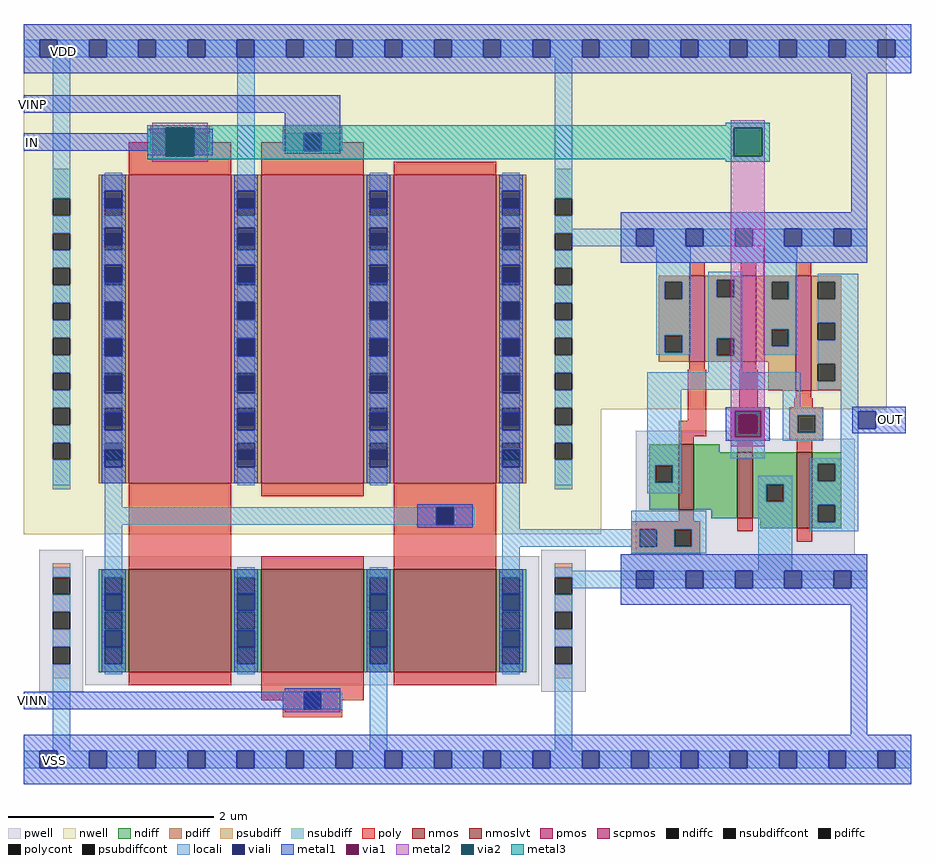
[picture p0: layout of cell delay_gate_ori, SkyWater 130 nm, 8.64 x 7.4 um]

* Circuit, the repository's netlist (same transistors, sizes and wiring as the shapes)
* NGSPICE file created from delay_gate_ori.ext - technology: sky130A

.subckt sky130_fd_pr__nfet_01v8_3KLK8B a_n158_n69# a_n100_n124# a_100_n69# VSUBS
X0 a_100_n69# a_n100_n124# a_n158_n69# VSUBS sky130_fd_pr__nfet_01v8 ad=0.29 pd=2.58 as=0.29 ps=2.58 w=1 l=1
.ends

.subckt sky130_fd_pr__pfet_01v8_GLM8QU a_n100_n328# a_100_n264# w_n194_n364# a_n158_n264#
X0 a_100_n264# a_n100_n328# a_n158_n264# w_n194_n364# sky130_fd_pr__pfet_01v8 ad=0.87 pd=6.58 as=0.87 ps=6.58 w=3 l=1
.ends

.subckt sky130_fd_pr__pfet_01v8_JKM84M a_n100_n362# w_n194_n398# a_100_n336# a_n158_n336#
X0 a_100_n336# a_n100_n362# a_n158_n336# w_n194_n398# sky130_fd_pr__pfet_01v8 ad=0.87 pd=6.58 as=0.87 ps=6.58 w=3 l=1
.ends

.subckt sky130_fd_pr__nfet_01v8_WVKZ6V a_100_n100# a_n100_n126# a_n158_n100# VSUBS
X0 a_100_n100# a_n100_n126# a_n158_n100# VSUBS sky130_fd_pr__nfet_01v8 ad=0.29 pd=2.58 as=0.29 ps=2.58 w=1 l=1
.ends

.subckt sky130_fd_sc_hs__and2_1 A B VGND VNB VPB VPWR X
X0 VGND B a_143_136# VNB sky130_fd_pr__nfet_01v8_lvt ad=0.15535 pd=1.17 as=0.1376 ps=1.14 w=0.64 l=0.15
X1 X a_56_136# VGND VNB sky130_fd_pr__nfet_01v8_lvt ad=0.2109 pd=2.05 as=0.15535 ps=1.17 w=0.74 l=0.15
X2 VPWR B a_56_136# VPB sky130_fd_pr__pfet_01v8 ad=0.1988 pd=1.505 as=0.147 ps=1.19 w=0.84 l=0.15
X3 a_143_136# A a_56_136# VNB sky130_fd_pr__nfet_01v8_lvt ad=0.1376 pd=1.14 as=0.1824 ps=1.85 w=0.64 l=0.15
X4 a_56_136# A VPWR VPB sky130_fd_pr__pfet_01v8 ad=0.147 pd=1.19 as=0.252 ps=2.28 w=0.84 l=0.15
X5 X a_56_136# VPWR VPB sky130_fd_pr__pfet_01v8 ad=0.3304 pd=2.83 as=0.1988 ps=1.505 w=1.12 l=0.15
.ends

.subckt delay_gate_ori VDD VSS VINP VINN OUT IN
Xsky130_fd_pr__nfet_01v8_3KLK8B_0 XM5/a_100_n100# VINN VSS VSS sky130_fd_pr__nfet_01v8_3KLK8B
Xsky130_fd_pr__pfet_01v8_GLM8QU_0 a_n155_n58# sky130_fd_sc_hs__and2_1_0/A VDD XM1/a_100_n336#
+ sky130_fd_pr__pfet_01v8_GLM8QU
Xsky130_fd_pr__pfet_01v8_JKM84M_0 IN VDD VDD a_n155_n58# sky130_fd_pr__pfet_01v8_JKM84M
Xsky130_fd_pr__nfet_01v8_WVKZ6V_0 sky130_fd_sc_hs__and2_1_0/A a_n155_n58# VSS VSS
+ sky130_fd_pr__nfet_01v8_WVKZ6V
XXM1 VINP VDD XM1/a_100_n336# VDD sky130_fd_pr__pfet_01v8_JKM84M
XXM5 XM5/a_100_n100# IN a_n155_n58# VSS sky130_fd_pr__nfet_01v8_WVKZ6V
Xsky130_fd_sc_hs__and2_1_0 sky130_fd_sc_hs__and2_1_0/A IN VSS VSS VDD VDD OUT sky130_fd_sc_hs__and2_1
.ends

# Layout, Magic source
magic
tech sky130A
magscale 1 2
<< nwell >>
rect -875 248 805 998
rect -875 4 249 248
<< pwell >>
rect -845 -302 -759 -26
rect 133 -302 219 -26
<< psubdiff >>
rect -819 -79 -785 -52
rect -819 -147 -785 -113
rect -819 -215 -785 -181
rect -819 -276 -785 -249
rect 159 -79 193 -52
rect 159 -147 193 -113
rect 159 -215 193 -181
rect 159 -276 193 -249
<< nsubdiff >>
rect -819 659 -785 716
rect -819 591 -785 625
rect -819 523 -785 557
rect -819 455 -785 489
rect -819 387 -785 421
rect -819 319 -785 353
rect -819 251 -785 285
rect -819 183 -785 217
rect -819 92 -785 149
rect 159 659 193 716
rect 159 591 193 625
rect 159 523 193 557
rect 159 455 193 489
rect 159 387 193 421
rect 159 319 193 353
rect 159 251 193 285
rect 159 183 193 217
rect 159 92 193 149
<< psubdiffcont >>
rect -819 -113 -785 -79
rect -819 -181 -785 -147
rect -819 -249 -785 -215
rect 159 -113 193 -79
rect 159 -181 193 -147
rect 159 -249 193 -215
<< nsubdiffcont >>
rect -819 625 -785 659
rect -819 557 -785 591
rect -819 489 -785 523
rect -819 421 -785 455
rect -819 353 -785 387
rect -819 285 -785 319
rect -819 217 -785 251
rect -819 149 -785 183
rect 159 625 193 659
rect 159 557 193 591
rect 159 489 193 523
rect 159 421 193 455
rect 159 353 193 387
rect 159 285 193 319
rect 159 217 193 251
rect 159 149 193 183
<< poly >>
rect -671 -62 -471 98
rect -155 -58 45 102
<< locali >>
rect -875 933 -844 967
rect -810 933 -748 967
rect -714 933 -652 967
rect -618 933 -556 967
rect -522 933 -460 967
rect -426 933 -364 967
rect -330 933 -268 967
rect -234 933 -172 967
rect -138 933 -76 967
rect -42 933 20 967
rect 54 933 116 967
rect 150 933 212 967
rect 246 933 308 967
rect 342 933 404 967
rect 438 933 500 967
rect 534 933 596 967
rect 630 933 692 967
rect 726 933 788 967
rect 822 933 853 967
rect -819 659 -785 933
rect -459 704 -425 933
rect -819 591 -785 625
rect -819 523 -785 557
rect -819 455 -785 489
rect -819 387 -785 421
rect -819 319 -785 353
rect -819 251 -785 285
rect -819 183 -785 217
rect 159 659 193 933
rect 159 599 193 625
rect 159 591 482 599
rect 193 565 482 591
rect 159 523 193 557
rect 159 455 193 489
rect 159 387 193 421
rect 159 319 193 353
rect 159 251 193 285
rect -819 100 -785 149
rect -717 57 -683 207
rect 159 183 193 217
rect -717 23 -77 57
rect -819 -79 -785 -60
rect -717 -64 -683 23
rect 57 14 91 172
rect 159 100 193 149
rect 57 -20 367 14
rect 57 -68 91 -20
rect 159 -67 193 -60
rect -819 -147 -785 -113
rect -819 -215 -785 -181
rect -819 -417 -785 -249
rect 159 -79 386 -67
rect 193 -101 386 -79
rect 159 -147 193 -113
rect 159 -215 193 -181
rect -201 -417 -167 -266
rect 159 -417 193 -249
rect -875 -451 -844 -417
rect -810 -451 -748 -417
rect -714 -451 -652 -417
rect -618 -451 -556 -417
rect -522 -451 -460 -417
rect -426 -451 -364 -417
rect -330 -451 -268 -417
rect -234 -451 -172 -417
rect -138 -451 -76 -417
rect -42 -451 20 -417
rect 54 -451 116 -417
rect 150 -451 212 -417
rect 246 -451 308 -417
rect 342 -451 404 -417
rect 438 -451 500 -417
rect 534 -451 596 -417
rect 630 -451 692 -417
rect 726 -451 788 -417
rect 822 -451 853 -417
<< viali >>
rect -844 933 -810 967
rect -748 933 -714 967
rect -652 933 -618 967
rect -556 933 -522 967
rect -460 933 -426 967
rect -364 933 -330 967
rect -268 933 -234 967
rect -172 933 -138 967
rect -76 933 -42 967
rect 20 933 54 967
rect 116 933 150 967
rect 212 933 246 967
rect 308 933 342 967
rect 404 933 438 967
rect 500 933 534 967
rect 596 933 630 967
rect 692 933 726 967
rect 788 933 822 967
rect 518 202 552 236
rect 750 210 784 244
rect -844 -451 -810 -417
rect -748 -451 -714 -417
rect -652 -451 -618 -417
rect -556 -451 -522 -417
rect -460 -451 -426 -417
rect -364 -451 -330 -417
rect -268 -451 -234 -417
rect -172 -451 -138 -417
rect -76 -451 -42 -417
rect 20 -451 54 -417
rect 116 -451 150 -417
rect 212 -451 246 -417
rect 308 -451 342 -417
rect 404 -451 438 -417
rect 500 -451 534 -417
rect 596 -451 630 -417
rect 692 -451 726 -417
rect 788 -451 822 -417
<< metal1 >>
rect -875 967 853 998
rect -875 933 -844 967
rect -810 933 -748 967
rect -714 933 -652 967
rect -618 933 -556 967
rect -522 933 -460 967
rect -426 933 -364 967
rect -330 933 -268 967
rect -234 933 -172 967
rect -138 933 -76 967
rect -42 933 20 967
rect 54 933 116 967
rect 150 933 212 967
rect 246 933 308 967
rect 342 933 404 967
rect 438 933 500 967
rect 534 933 596 967
rect 630 933 692 967
rect 726 933 788 967
rect 822 933 853 967
rect -875 902 853 933
rect -875 825 -259 859
rect -635 785 -597 794
rect -875 751 -597 785
rect -635 742 -597 751
rect -545 742 -507 794
rect -367 791 -259 825
rect 736 569 767 902
rect 492 245 578 252
rect 492 193 509 245
rect 561 193 578 245
rect 738 244 842 253
rect 738 210 750 244
rect 784 210 842 244
rect 738 201 842 210
rect 492 186 578 193
rect -875 -336 -259 -302
rect 735 -386 767 -101
rect -875 -417 853 -386
rect -875 -451 -844 -417
rect -810 -451 -748 -417
rect -714 -451 -652 -417
rect -618 -451 -556 -417
rect -522 -451 -460 -417
rect -426 -451 -364 -417
rect -330 -451 -268 -417
rect -234 -451 -172 -417
rect -138 -451 -76 -417
rect -42 -451 20 -417
rect 54 -451 116 -417
rect 150 -451 212 -417
rect 246 -451 308 -417
rect 342 -451 404 -417
rect 438 -451 500 -417
rect 534 -451 596 -417
rect 630 -451 692 -417
rect 726 -451 788 -417
rect 822 -451 853 -417
rect -875 -482 853 -451
<< via1 >>
rect -597 742 -545 794
rect 509 236 561 245
rect 509 202 518 236
rect 518 202 552 236
rect 552 202 561 236
rect 509 193 561 202
<< metal2 >>
rect -625 796 -517 806
rect -625 740 -599 796
rect -543 740 -517 796
rect -625 730 -517 740
rect 502 796 568 811
rect 502 740 507 796
rect 563 740 568 796
rect 502 245 568 740
rect 502 193 509 245
rect 561 193 568 245
rect 502 176 568 193
<< via2 >>
rect -599 794 -543 796
rect -599 742 -597 794
rect -597 742 -545 794
rect -545 742 -543 794
rect -599 740 -543 742
rect 507 740 563 796
<< metal3 >>
rect 492 801 578 806
rect -635 796 578 801
rect -635 740 -599 796
rect -543 740 507 796
rect 563 740 578 796
rect -635 735 578 740
rect 492 730 578 735
use sky130_fd_pr__nfet_01v8_3KLK8B  sky130_fd_pr__nfet_01v8_3KLK8B_0
transform 1 0 -313 0 1 -195
box -184 -157 184 157
use sky130_fd_pr__nfet_01v8_WVKZ6V  sky130_fd_pr__nfet_01v8_WVKZ6V_0
transform 1 0 -55 0 1 -164
box -184 -126 184 126
use sky130_fd_pr__pfet_01v8_GLM8QU  sky130_fd_pr__pfet_01v8_GLM8QU_0
transform 1 0 -55 0 1 368
box -194 -364 194 398
use sky130_fd_pr__pfet_01v8_JKM84M  sky130_fd_pr__pfet_01v8_JKM84M_0
transform 1 0 -571 0 1 440
box -194 -398 194 364
use sky130_fd_sc_hs__and2_1  sky130_fd_sc_hs__and2_1_0
transform 1 0 287 0 1 -84
box -38 -49 518 715
use sky130_fd_pr__pfet_01v8_JKM84M  XM1
transform 1 0 -313 0 1 440
box -194 -398 194 364
use sky130_fd_pr__nfet_01v8_WVKZ6V  XM5
transform 1 0 -571 0 1 -164
box -184 -126 184 126
<< labels >>
flabel nwell s -813 930 -783 960 0 FreeSans 500 0 0 0 VDD
port 1 nsew
flabel metal1 s -831 -452 -801 -422 0 FreeSans 500 0 0 0 VSS
port 2 nsew
flabel metal1 s -875 825 -841 859 0 FreeSans 500 0 0 0 VINP
port 3 nsew
flabel metal1 s -875 -336 -841 -302 0 FreeSans 500 0 0 0 VINN
port 4 nsew
flabel metal1 s 784 201 842 253 0 FreeSans 500 0 0 0 OUT
port 5 nsew
flabel metal1 s -875 751 -841 785 0 FreeSans 500 0 0 0 IN
port 6 nsew
<< end >>

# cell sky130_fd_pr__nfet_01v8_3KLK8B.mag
magic
tech sky130A
magscale 1 2
<< pwell >>
rect -184 -95 184 157
<< nmos >>
rect -100 -69 100 131
<< ndiff >>
rect -158 116 -100 131
rect -158 82 -146 116
rect -112 82 -100 116
rect -158 48 -100 82
rect -158 14 -146 48
rect -112 14 -100 48
rect -158 -20 -100 14
rect -158 -54 -146 -20
rect -112 -54 -100 -20
rect -158 -69 -100 -54
rect 100 116 158 131
rect 100 82 112 116
rect 146 82 158 116
rect 100 48 158 82
rect 100 14 112 48
rect 146 14 158 48
rect 100 -20 158 14
rect 100 -54 112 -20
rect 146 -54 158 -20
rect 100 -69 158 -54
<< ndiffc >>
rect -146 82 -112 116
rect -146 14 -112 48
rect -146 -54 -112 -20
rect 112 82 146 116
rect 112 14 146 48
rect 112 -54 146 -20
<< poly >>
rect -100 131 100 157
rect -100 -107 100 -69
rect -100 -124 -17 -107
rect -58 -141 -17 -124
rect 17 -124 100 -107
rect 17 -141 58 -124
rect -58 -157 58 -141
<< polycont >>
rect -17 -141 17 -107
<< locali >>
rect -146 116 -112 135
rect -146 48 -112 50
rect -146 12 -112 14
rect -146 -73 -112 -54
rect 112 116 146 135
rect 112 48 146 50
rect 112 12 146 14
rect 112 -73 146 -54
rect -58 -141 -17 -107
rect 17 -141 58 -107
<< viali >>
rect -146 82 -112 84
rect -146 50 -112 82
rect -146 -20 -112 12
rect -146 -22 -112 -20
rect 112 82 146 84
rect 112 50 146 82
rect 112 -20 146 12
rect 112 -22 146 -20
rect -17 -141 17 -107
<< metal1 >>
rect -152 84 -106 131
rect -152 50 -146 84
rect -112 50 -106 84
rect -152 12 -106 50
rect -152 -22 -146 12
rect -112 -22 -106 12
rect -152 -69 -106 -22
rect 106 84 152 131
rect 106 50 112 84
rect 146 50 152 84
rect 106 12 152 50
rect 106 -22 112 12
rect 146 -22 152 12
rect 106 -69 152 -22
rect -54 -107 54 -101
rect -54 -141 -17 -107
rect 17 -141 54 -107
rect -54 -147 54 -141
<< end >>

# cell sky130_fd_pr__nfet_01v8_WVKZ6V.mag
magic
tech sky130A
magscale 1 2
<< pwell >>
rect -184 -126 184 126
<< nmos >>
rect -100 -100 100 100
<< ndiff >>
rect -158 85 -100 100
rect -158 51 -146 85
rect -112 51 -100 85
rect -158 17 -100 51
rect -158 -17 -146 17
rect -112 -17 -100 17
rect -158 -51 -100 -17
rect -158 -85 -146 -51
rect -112 -85 -100 -51
rect -158 -100 -100 -85
rect 100 85 158 100
rect 100 51 112 85
rect 146 51 158 85
rect 100 17 158 51
rect 100 -17 112 17
rect 146 -17 158 17
rect 100 -51 158 -17
rect 100 -85 112 -51
rect 146 -85 158 -51
rect 100 -100 158 -85
<< ndiffc >>
rect -146 51 -112 85
rect -146 -17 -112 17
rect -146 -85 -112 -51
rect 112 51 146 85
rect 112 -17 146 17
rect 112 -85 146 -51
<< poly >>
rect -100 100 100 126
rect -100 -126 100 -100
<< locali >>
rect -146 85 -112 104
rect -146 17 -112 19
rect -146 -19 -112 -17
rect -146 -104 -112 -85
rect 112 85 146 104
rect 112 17 146 19
rect 112 -19 146 -17
rect 112 -104 146 -85
<< viali >>
rect -146 51 -112 53
rect -146 19 -112 51
rect -146 -51 -112 -19
rect -146 -53 -112 -51
rect 112 51 146 53
rect 112 19 146 51
rect 112 -51 146 -19
rect 112 -53 146 -51
<< metal1 >>
rect -152 53 -106 100
rect -152 19 -146 53
rect -112 19 -106 53
rect -152 -19 -106 19
rect -152 -53 -146 -19
rect -112 -53 -106 -19
rect -152 -100 -106 -53
rect 106 53 152 100
rect 106 19 112 53
rect 146 19 152 53
rect 106 -19 152 19
rect 106 -53 112 -19
rect 146 -53 152 -19
rect 106 -100 152 -53
<< end >>

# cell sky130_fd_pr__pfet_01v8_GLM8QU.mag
magic
tech sky130A
magscale 1 2
<< nwell >>
rect -194 -364 194 398
<< pmos >>
rect -100 -264 100 336
<< pdiff >>
rect -158 291 -100 336
rect -158 257 -146 291
rect -112 257 -100 291
rect -158 223 -100 257
rect -158 189 -146 223
rect -112 189 -100 223
rect -158 155 -100 189
rect -158 121 -146 155
rect -112 121 -100 155
rect -158 87 -100 121
rect -158 53 -146 87
rect -112 53 -100 87
rect -158 19 -100 53
rect -158 -15 -146 19
rect -112 -15 -100 19
rect -158 -49 -100 -15
rect -158 -83 -146 -49
rect -112 -83 -100 -49
rect -158 -117 -100 -83
rect -158 -151 -146 -117
rect -112 -151 -100 -117
rect -158 -185 -100 -151
rect -158 -219 -146 -185
rect -112 -219 -100 -185
rect -158 -264 -100 -219
rect 100 291 158 336
rect 100 257 112 291
rect 146 257 158 291
rect 100 223 158 257
rect 100 189 112 223
rect 146 189 158 223
rect 100 155 158 189
rect 100 121 112 155
rect 146 121 158 155
rect 100 87 158 121
rect 100 53 112 87
rect 146 53 158 87
rect 100 19 158 53
rect 100 -15 112 19
rect 146 -15 158 19
rect 100 -49 158 -15
rect 100 -83 112 -49
rect 146 -83 158 -49
rect 100 -117 158 -83
rect 100 -151 112 -117
rect 146 -151 158 -117
rect 100 -185 158 -151
rect 100 -219 112 -185
rect 146 -219 158 -185
rect 100 -264 158 -219
<< pdiffc >>
rect -146 257 -112 291
rect -146 189 -112 223
rect -146 121 -112 155
rect -146 53 -112 87
rect -146 -15 -112 19
rect -146 -83 -112 -49
rect -146 -151 -112 -117
rect -146 -219 -112 -185
rect 112 257 146 291
rect 112 189 146 223
rect 112 121 146 155
rect 112 53 146 87
rect 112 -15 146 19
rect 112 -83 146 -49
rect 112 -151 146 -117
rect 112 -219 146 -185
<< poly >>
rect -100 336 100 362
rect -100 -311 100 -264
rect -100 -328 -17 -311
rect -58 -345 -17 -328
rect 17 -328 100 -311
rect 17 -345 58 -328
rect -58 -361 58 -345
<< polycont >>
rect -17 -345 17 -311
<< locali >>
rect -146 305 -112 340
rect -146 233 -112 257
rect -146 161 -112 189
rect -146 89 -112 121
rect -146 19 -112 53
rect -146 -49 -112 -17
rect -146 -117 -112 -89
rect -146 -185 -112 -161
rect -146 -268 -112 -233
rect 112 305 146 340
rect 112 233 146 257
rect 112 161 146 189
rect 112 89 146 121
rect 112 19 146 53
rect 112 -49 146 -17
rect 112 -117 146 -89
rect 112 -185 146 -161
rect 112 -268 146 -233
rect -58 -345 -17 -311
rect 17 -345 58 -311
<< viali >>
rect -146 291 -112 305
rect -146 271 -112 291
rect -146 223 -112 233
rect -146 199 -112 223
rect -146 155 -112 161
rect -146 127 -112 155
rect -146 87 -112 89
rect -146 55 -112 87
rect -146 -15 -112 17
rect -146 -17 -112 -15
rect -146 -83 -112 -55
rect -146 -89 -112 -83
rect -146 -151 -112 -127
rect -146 -161 -112 -151
rect -146 -219 -112 -199
rect -146 -233 -112 -219
rect 112 291 146 305
rect 112 271 146 291
rect 112 223 146 233
rect 112 199 146 223
rect 112 155 146 161
rect 112 127 146 155
rect 112 87 146 89
rect 112 55 146 87
rect 112 -15 146 17
rect 112 -17 146 -15
rect 112 -83 146 -55
rect 112 -89 146 -83
rect 112 -151 146 -127
rect 112 -161 146 -151
rect 112 -219 146 -199
rect 112 -233 146 -219
rect -17 -345 17 -311
<< metal1 >>
rect -152 305 -106 336
rect -152 271 -146 305
rect -112 271 -106 305
rect -152 233 -106 271
rect -152 199 -146 233
rect -112 199 -106 233
rect -152 161 -106 199
rect -152 127 -146 161
rect -112 127 -106 161
rect -152 89 -106 127
rect -152 55 -146 89
rect -112 55 -106 89
rect -152 17 -106 55
rect -152 -17 -146 17
rect -112 -17 -106 17
rect -152 -55 -106 -17
rect -152 -89 -146 -55
rect -112 -89 -106 -55
rect -152 -127 -106 -89
rect -152 -161 -146 -127
rect -112 -161 -106 -127
rect -152 -199 -106 -161
rect -152 -233 -146 -199
rect -112 -233 -106 -199
rect -152 -264 -106 -233
rect 106 305 152 336
rect 106 271 112 305
rect 146 271 152 305
rect 106 233 152 271
rect 106 199 112 233
rect 146 199 152 233
rect 106 161 152 199
rect 106 127 112 161
rect 146 127 152 161
rect 106 89 152 127
rect 106 55 112 89
rect 146 55 152 89
rect 106 17 152 55
rect 106 -17 112 17
rect 146 -17 152 17
rect 106 -55 152 -17
rect 106 -89 112 -55
rect 146 -89 152 -55
rect 106 -127 152 -89
rect 106 -161 112 -127
rect 146 -161 152 -127
rect 106 -199 152 -161
rect 106 -233 112 -199
rect 146 -233 152 -199
rect 106 -264 152 -233
rect -54 -311 54 -305
rect -54 -345 -17 -311
rect 17 -345 54 -311
rect -54 -351 54 -345
<< end >>

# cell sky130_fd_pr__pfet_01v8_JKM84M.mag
magic
tech sky130A
magscale 1 2
<< nwell >>
rect -194 -398 194 364
<< pmos >>
rect -100 -336 100 264
<< pdiff >>
rect -158 219 -100 264
rect -158 185 -146 219
rect -112 185 -100 219
rect -158 151 -100 185
rect -158 117 -146 151
rect -112 117 -100 151
rect -158 83 -100 117
rect -158 49 -146 83
rect -112 49 -100 83
rect -158 15 -100 49
rect -158 -19 -146 15
rect -112 -19 -100 15
rect -158 -53 -100 -19
rect -158 -87 -146 -53
rect -112 -87 -100 -53
rect -158 -121 -100 -87
rect -158 -155 -146 -121
rect -112 -155 -100 -121
rect -158 -189 -100 -155
rect -158 -223 -146 -189
rect -112 -223 -100 -189
rect -158 -257 -100 -223
rect -158 -291 -146 -257
rect -112 -291 -100 -257
rect -158 -336 -100 -291
rect 100 219 158 264
rect 100 185 112 219
rect 146 185 158 219
rect 100 151 158 185
rect 100 117 112 151
rect 146 117 158 151
rect 100 83 158 117
rect 100 49 112 83
rect 146 49 158 83
rect 100 15 158 49
rect 100 -19 112 15
rect 146 -19 158 15
rect 100 -53 158 -19
rect 100 -87 112 -53
rect 146 -87 158 -53
rect 100 -121 158 -87
rect 100 -155 112 -121
rect 146 -155 158 -121
rect 100 -189 158 -155
rect 100 -223 112 -189
rect 146 -223 158 -189
rect 100 -257 158 -223
rect 100 -291 112 -257
rect 146 -291 158 -257
rect 100 -336 158 -291
<< pdiffc >>
rect -146 185 -112 219
rect -146 117 -112 151
rect -146 49 -112 83
rect -146 -19 -112 15
rect -146 -87 -112 -53
rect -146 -155 -112 -121
rect -146 -223 -112 -189
rect -146 -291 -112 -257
rect 112 185 146 219
rect 112 117 146 151
rect 112 49 146 83
rect 112 -19 146 15
rect 112 -87 146 -53
rect 112 -155 146 -121
rect 112 -223 146 -189
rect 112 -291 146 -257
<< poly >>
rect -58 345 58 361
rect -58 328 -17 345
rect -100 311 -17 328
rect 17 328 58 345
rect 17 311 100 328
rect -100 264 100 311
rect -100 -362 100 -336
<< polycont >>
rect -17 311 17 345
<< locali >>
rect -58 311 -17 345
rect 17 311 58 345
rect -146 233 -112 268
rect -146 161 -112 185
rect -146 89 -112 117
rect -146 17 -112 49
rect -146 -53 -112 -19
rect -146 -121 -112 -89
rect -146 -189 -112 -161
rect -146 -257 -112 -233
rect -146 -340 -112 -305
rect 112 233 146 268
rect 112 161 146 185
rect 112 89 146 117
rect 112 17 146 49
rect 112 -53 146 -19
rect 112 -121 146 -89
rect 112 -189 146 -161
rect 112 -257 146 -233
rect 112 -340 146 -305
<< viali >>
rect -17 311 17 345
rect -146 219 -112 233
rect -146 199 -112 219
rect -146 151 -112 161
rect -146 127 -112 151
rect -146 83 -112 89
rect -146 55 -112 83
rect -146 15 -112 17
rect -146 -17 -112 15
rect -146 -87 -112 -55
rect -146 -89 -112 -87
rect -146 -155 -112 -127
rect -146 -161 -112 -155
rect -146 -223 -112 -199
rect -146 -233 -112 -223
rect -146 -291 -112 -271
rect -146 -305 -112 -291
rect 112 219 146 233
rect 112 199 146 219
rect 112 151 146 161
rect 112 127 146 151
rect 112 83 146 89
rect 112 55 146 83
rect 112 15 146 17
rect 112 -17 146 15
rect 112 -87 146 -55
rect 112 -89 146 -87
rect 112 -155 146 -127
rect 112 -161 146 -155
rect 112 -223 146 -199
rect 112 -233 146 -223
rect 112 -291 146 -271
rect 112 -305 146 -291
<< metal1 >>
rect -54 345 54 351
rect -54 311 -17 345
rect 17 311 54 345
rect -54 305 54 311
rect -152 233 -106 264
rect -152 199 -146 233
rect -112 199 -106 233
rect -152 161 -106 199
rect -152 127 -146 161
rect -112 127 -106 161
rect -152 89 -106 127
rect -152 55 -146 89
rect -112 55 -106 89
rect -152 17 -106 55
rect -152 -17 -146 17
rect -112 -17 -106 17
rect -152 -55 -106 -17
rect -152 -89 -146 -55
rect -112 -89 -106 -55
rect -152 -127 -106 -89
rect -152 -161 -146 -127
rect -112 -161 -106 -127
rect -152 -199 -106 -161
rect -152 -233 -146 -199
rect -112 -233 -106 -199
rect -152 -271 -106 -233
rect -152 -305 -146 -271
rect -112 -305 -106 -271
rect -152 -336 -106 -305
rect 106 233 152 264
rect 106 199 112 233
rect 146 199 152 233
rect 106 161 152 199
rect 106 127 112 161
rect 146 127 152 161
rect 106 89 152 127
rect 106 55 112 89
rect 146 55 152 89
rect 106 17 152 55
rect 106 -17 112 17
rect 146 -17 152 17
rect 106 -55 152 -17
rect 106 -89 112 -55
rect 146 -89 152 -55
rect 106 -127 152 -89
rect 106 -161 112 -127
rect 146 -161 152 -127
rect 106 -199 152 -161
rect 106 -233 112 -199
rect 146 -233 152 -199
rect 106 -271 152 -233
rect 106 -305 112 -271
rect 146 -305 152 -271
rect 106 -336 152 -305
<< end >>

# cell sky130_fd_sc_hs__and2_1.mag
magic
tech sky130A
magscale 1 2
<< nwell >>
rect -38 332 518 704
<< pwell >>
rect 30 274 219 290
rect 30 49 456 274
rect 0 0 480 49
<< scpmos >>
rect 134 424 164 592
rect 234 424 264 592
rect 341 368 371 592
<< nmoslvt >>
rect 113 136 143 264
rect 227 120 257 248
rect 343 100 373 248
<< ndiff >>
rect 56 223 113 264
rect 56 189 68 223
rect 102 189 113 223
rect 56 136 113 189
rect 143 248 193 264
rect 143 136 227 248
rect 177 120 227 136
rect 257 186 343 248
rect 257 152 284 186
rect 318 152 343 186
rect 257 120 343 152
rect 272 100 343 120
rect 373 226 430 248
rect 373 192 384 226
rect 418 192 430 226
rect 373 146 430 192
rect 373 112 384 146
rect 418 112 430 146
rect 373 100 430 112
<< pdiff >>
rect 74 580 134 592
rect 74 546 86 580
rect 120 546 134 580
rect 74 476 134 546
rect 74 442 86 476
rect 120 442 134 476
rect 74 424 134 442
rect 164 584 234 592
rect 164 550 187 584
rect 221 550 234 584
rect 164 470 234 550
rect 164 436 187 470
rect 221 436 234 470
rect 164 424 234 436
rect 264 580 341 592
rect 264 546 294 580
rect 328 546 341 580
rect 264 488 341 546
rect 264 454 294 488
rect 328 454 341 488
rect 264 424 341 454
rect 288 368 341 424
rect 371 580 430 592
rect 371 546 384 580
rect 418 546 430 580
rect 371 500 430 546
rect 371 466 384 500
rect 418 466 430 500
rect 371 420 430 466
rect 371 386 384 420
rect 418 386 430 420
rect 371 368 430 386
<< ndiffc >>
rect 68 189 102 223
rect 284 152 318 186
rect 384 192 418 226
rect 384 112 418 146
<< pdiffc >>
rect 86 546 120 580
rect 86 442 120 476
rect 187 550 221 584
rect 187 436 221 470
rect 294 546 328 580
rect 294 454 328 488
rect 384 546 418 580
rect 384 466 418 500
rect 384 386 418 420
<< poly >>
rect 134 592 164 618
rect 234 592 264 618
rect 341 592 371 618
rect 134 409 164 424
rect 234 409 264 424
rect 131 309 167 409
rect 231 336 267 409
rect 341 353 371 368
rect 338 336 374 353
rect 113 279 167 309
rect 215 320 281 336
rect 215 286 231 320
rect 265 286 281 320
rect 113 264 143 279
rect 215 270 281 286
rect 329 320 395 336
rect 329 286 345 320
rect 379 286 395 320
rect 329 270 395 286
rect 227 248 257 270
rect 343 248 373 270
rect 113 114 143 136
rect 21 98 155 114
rect 21 64 37 98
rect 71 64 105 98
rect 139 64 155 98
rect 227 94 257 120
rect 343 74 373 100
rect 21 48 155 64
<< polycont >>
rect 231 286 265 320
rect 345 286 379 320
rect 37 64 71 98
rect 105 64 139 98
<< locali >>
rect 0 649 31 683
rect 65 649 127 683
rect 161 649 223 683
rect 257 649 319 683
rect 353 649 415 683
rect 449 649 480 683
rect 70 580 137 649
rect 70 546 86 580
rect 120 546 137 580
rect 70 476 137 546
rect 70 442 86 476
rect 120 442 137 476
rect 70 438 137 442
rect 171 584 237 600
rect 171 550 187 584
rect 221 550 237 584
rect 171 470 237 550
rect 171 436 187 470
rect 221 436 237 470
rect 278 580 344 649
rect 278 546 294 580
rect 328 546 344 580
rect 278 488 344 546
rect 278 454 294 488
rect 328 454 344 488
rect 278 438 344 454
rect 384 580 463 596
rect 418 546 463 580
rect 384 500 463 546
rect 418 466 463 500
rect 171 404 237 436
rect 384 420 463 466
rect 52 370 350 404
rect 418 386 463 420
rect 384 370 463 386
rect 52 223 118 370
rect 316 336 350 370
rect 215 320 281 336
rect 215 286 231 320
rect 265 286 281 320
rect 215 236 281 286
rect 316 320 395 336
rect 316 286 345 320
rect 379 286 395 320
rect 316 270 395 286
rect 429 236 463 370
rect 52 189 68 223
rect 102 189 118 223
rect 368 226 463 236
rect 52 168 118 189
rect 268 186 334 202
rect 268 152 284 186
rect 318 152 334 186
rect 21 98 167 134
rect 21 64 37 98
rect 71 64 105 98
rect 139 64 167 98
rect 21 51 167 64
rect 268 17 334 152
rect 368 192 384 226
rect 418 192 463 226
rect 368 146 463 192
rect 368 112 384 146
rect 418 112 463 146
rect 368 94 463 112
rect 0 -17 31 17
rect 65 -17 127 17
rect 161 -17 223 17
rect 257 -17 319 17
rect 353 -17 415 17
rect 449 -17 480 17
<< viali >>
rect 31 649 65 683
rect 127 649 161 683
rect 223 649 257 683
rect 319 649 353 683
rect 415 649 449 683
rect 31 -17 65 17
rect 127 -17 161 17
rect 223 -17 257 17
rect 319 -17 353 17
rect 415 -17 449 17
<< metal1 >>
rect 0 683 480 715
rect 0 649 31 683
rect 65 649 127 683
rect 161 649 223 683
rect 257 649 319 683
rect 353 649 415 683
rect 449 649 480 683
rect 0 617 480 649
rect 0 17 480 49
rect 0 -17 31 17
rect 65 -17 127 17
rect 161 -17 223 17
rect 257 -17 319 17
rect 353 -17 415 17
rect 449 -17 480 17
rect 0 -49 480 -17
<< labels >>
rlabel comment s 0 0 0 0 4 and2_1
flabel pwell s 0 0 480 49 0 FreeSans 200 0 0 0 VNB
port 1 nsew
flabel nwell s 0 617 480 666 0 FreeSans 200 0 0 0 VPB
port 2 nsew
flabel metal1 s 0 617 480 666 0 FreeSans 340 0 0 0 VPWR
port 3 nsew
flabel metal1 s 0 0 480 49 0 FreeSans 340 0 0 0 VGND
port 4 nsew
flabel locali s 31 94 65 128 0 FreeSans 340 0 0 0 A
port 6 nsew
flabel locali s 127 94 161 128 0 FreeSans 340 0 0 0 A
port 6 nsew
flabel locali s 223 242 257 276 0 FreeSans 340 0 0 0 B
port 7 nsew
flabel locali s 415 390 449 424 0 FreeSans 340 0 0 0 X
port 8 nsew
flabel locali s 415 464 449 498 0 FreeSans 340 0 0 0 X
port 8 nsew
flabel locali s 415 538 449 572 0 FreeSans 340 0 0 0 X
port 8 nsew
<< properties >>
string FIXED_BBOX 0 0 480 666
<< end >>
